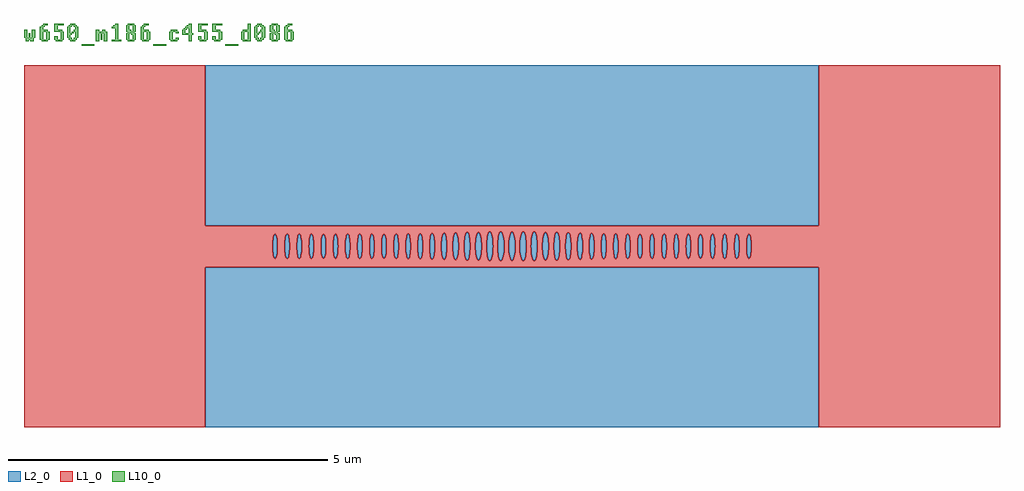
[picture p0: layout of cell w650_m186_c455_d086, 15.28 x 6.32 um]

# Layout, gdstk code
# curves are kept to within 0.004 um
import gdstk
lib = gdstk.Library(unit=1e-6, precision=1e-09)
def R(c, l, rs):  # rectangles x0, y0, x1, y1
    for r in rs: c.add(gdstk.rectangle(r[:2], r[2:], *l))
def A(c, l, x, y, w, h, nx, ny, dx, dy):  # array of equal rectangles
    R(c, l, [(x+i*dx, y+j*dy, x+i*dx+w, y+j*dy+h) for i in range(nx) for j in range(ny)])
def P(c, l, *ps):  # polygons
    for p in ps: c.add(gdstk.Polygon(p, *l))
L1_0 = (1, 0)
L2_0 = (2, 0)
L10_0 = (10, 0)

w650_m186_c455_d086 = lib.new_cell('w650_m186_c455_d086')
P(w650_m186_c455_d086, L1_0, [(-2.796,0.075),(-2.796,0.325),(-4.803,0.325),(-4.803,2.835),(-7.638,2.835),(-7.638,-0.038),(-3.746,-0.038),(-3.74,0.108),(-3.73,0.162),(-3.709,0.195),(-3.694,0.18),(-3.682,0.138),(-3.671,0),(-3.557,0),(-3.546,0.138),(-3.534,0.18),(-3.519,0.195),(-3.512,0.191),(-3.498,0.162),(-3.487,0.108),(-3.482,-0.038),(-3.367,-0.038),(-3.361,0.108),(-3.351,0.162),(-3.33,0.195),(-3.315,0.18),(-3.303,0.138),(-3.292,0),(-3.178,0),(-3.167,0.138),(-3.155,0.18),(-3.14,0.195),(-3.119,0.162),(-3.108,0.108),(-3.103,-0.038),(-2.988,-0.038),(-2.982,0.108),(-2.972,0.162),(-2.951,0.195),(-2.943,0.191),(-2.929,0.162),(-2.913,0.038),(-2.919,-0.108),(-2.929,-0.162),(-2.943,-0.191),(-2.951,-0.195),(-2.972,-0.162),(-2.988,-0.038),(-3.103,-0.038),(-3.119,-0.162),(-3.133,-0.191),(-3.147,-0.191),(-3.161,-0.162),(-3.172,-0.108),(-3.178,0),(-3.292,0),(-3.303,-0.138),(-3.315,-0.18),(-3.33,-0.195),(-3.351,-0.162),(-3.367,-0.038),(-3.482,-0.038),(-3.498,-0.162),(-3.512,-0.191),(-3.526,-0.191),(-3.54,-0.162),(-3.551,-0.108),(-3.557,0),(-3.671,0),(-3.682,-0.138),(-3.694,-0.18),(-3.709,-0.195),(-3.73,-0.162),(-3.746,-0.038),(-7.638,-0.038),(-7.638,-2.835),(-4.803,-2.835),(-4.803,-0.325),(-2.796,-0.325)],
  [(-1.849,0.075),(-1.835,0.162),(-1.821,0.191),(-1.821,0.325),(-2.796,0.325),(-2.796,0.075),(-2.776,0.18),(-2.761,0.195),(-2.754,0.191),(-2.74,0.162),(-2.729,0.108),(-2.724,-0.038),(-2.609,-0.038),(-2.603,0.108),(-2.593,0.162),(-2.572,0.195),(-2.557,0.18),(-2.545,0.138),(-2.534,0),(-2.42,0),(-2.409,0.138),(-2.397,0.18),(-2.382,0.195),(-2.361,0.162),(-2.35,0.108),(-2.345,-0.038),(-2.23,-0.038),(-2.224,0.108),(-2.214,0.162),(-2.193,0.195),(-2.178,0.18),(-2.166,0.138),(-2.155,0),(-2.041,0),(-2.03,0.138),(-2.018,0.18),(-2.003,0.195),(-1.996,0.191),(-1.982,0.162),(-1.971,0.108),(-1.965,0),(-1.976,-0.138),(-1.989,-0.18),(-2.003,-0.195),(-2.018,-0.18),(-2.03,-0.138),(-2.041,0),(-2.155,0),(-2.166,-0.138),(-2.178,-0.18),(-2.193,-0.195),(-2.214,-0.162),(-2.23,-0.038),(-2.345,-0.038),(-2.355,-0.138),(-2.368,-0.18),(-2.382,-0.195),(-2.397,-0.18),(-2.409,-0.138),(-2.42,0),(-2.534,0),(-2.545,-0.138),(-2.557,-0.18),(-2.572,-0.195),(-2.593,-0.162),(-2.609,-0.038),(-2.724,-0.038),(-2.734,-0.138),(-2.747,-0.18),(-2.761,-0.195),(-2.776,-0.18),(-2.782,-0.162),(-2.796,-0.075),(-2.796,-0.325),(-1.821,-0.325),(-1.821,-0.191),(-1.835,-0.162),(-1.849,-0.075)],
  [(-1.806,0.191),(-1.792,0.162),(-1.782,0.108),(-1.776,0),(-1.663,0),(-1.651,0.139),(-1.639,0.181),(-1.624,0.196),(-1.61,0.181),(-1.597,0.139),(-1.586,0),(-1.475,0),(-1.464,0.141),(-1.451,0.184),(-1.436,0.199),(-1.421,0.184),(-1.408,0.141),(-1.399,0.076),(-1.396,-0.019),(-1.29,-0.019),(-1.288,0.057),(-1.276,0.154),(-1.262,0.193),(-1.247,0.204),(-1.232,0.185),(-1.219,0.141),(-1.209,-0.02),(-1.107,-0.02),(-1.098,0.129),(-1.078,0.197),(-1.062,0.209),(-1.046,0.19),(-1.033,0.144),(-1.024,0.078),(-1.021,-0.02),(-1.033,-0.144),(-1.046,-0.19),(-1.062,-0.209),(-1.078,-0.197),(-1.092,-0.158),(-1.107,-0.02),(-1.209,-0.02),(-1.219,-0.141),(-1.232,-0.185),(-1.247,-0.204),(-1.262,-0.193),(-1.276,-0.154),(-1.29,-0.019),(-1.396,-0.019),(-1.408,-0.141),(-1.421,-0.184),(-1.436,-0.199),(-1.451,-0.184),(-1.464,-0.141),(-1.475,0),(-1.586,0),(-1.597,-0.139),(-1.61,-0.181),(-1.624,-0.196),(-1.639,-0.181),(-1.651,-0.139),(-1.663,0),(-1.776,0),(-1.778,-0.075),(-1.792,-0.162),(-1.806,-0.191),(-1.821,-0.191),(-1.821,-0.325),(-0.888,-0.325),(-0.888,-0.212),(-0.904,-0.185),(-0.917,-0.132),(-0.926,-0.02),(-0.917,0.132),(-0.904,0.185),(-0.888,0.212),(-0.888,0.325),(-1.821,0.325),(-1.821,0.191)],
  [(-0.048,0.082),(-0.031,0.182),(-0.023,0.204),(-0.005,0.227),(-0.005,0.325),(-0.888,0.325),(-0.888,0.212),(-0.871,0.208),(-0.849,0.147),(-0.837,0.04),(-0.837,-0.04),(-0.748,-0.04),(-0.748,0.04),(-0.736,0.147),(-0.722,0.195),(-0.706,0.217),(-0.688,0.21),(-0.667,0.147),(-0.655,0.04),(-0.655,-0.041),(-0.572,-0.041),(-0.572,0.041),(-0.56,0.15),(-0.545,0.199),(-0.528,0.221),(-0.51,0.214),(-0.487,0.15),(-0.475,0),(-0.398,0),(-0.385,0.152),(-0.37,0.201),(-0.352,0.224),(-0.343,0.224),(-0.325,0.201),(-0.31,0.152),(-0.297,0),(-0.225,0),(-0.212,0.153),(-0.188,0.218),(-0.169,0.226),(-0.15,0.203),(-0.135,0.153),(-0.122,0),(-0.135,-0.153),(-0.15,-0.203),(-0.169,-0.226),(-0.188,-0.218),(-0.212,-0.153),(-0.225,0),(-0.297,0),(-0.31,-0.152),(-0.325,-0.201),(-0.343,-0.224),(-0.362,-0.216),(-0.385,-0.152),(-0.398,0),(-0.475,0),(-0.487,-0.15),(-0.502,-0.199),(-0.519,-0.221),(-0.537,-0.214),(-0.553,-0.177),(-0.572,-0.041),(-0.655,-0.041),(-0.673,-0.174),(-0.688,-0.21),(-0.706,-0.217),(-0.73,-0.174),(-0.748,-0.04),(-0.837,-0.04),(-0.855,-0.174),(-0.871,-0.208),(-0.888,-0.212),(-0.888,-0.325),(-0.005,-0.325),(-0.005,-0.227),(-0.023,-0.204),(-0.044,-0.12),(-0.052,0)],
  [(0.048,-0.082),(0.038,-0.153),(0.023,-0.204),(0.005,-0.227),(-0.005,-0.227),(-0.005,-0.325),(0.867,-0.325),(0.867,-0.202),(0.846,-0.132),(0.837,-0.02),(0.846,0.132),(0.867,0.202),(0.867,0.325),(-0.005,0.325),(-0.005,0.227),(0.014,0.219),(0.031,0.182),(0.044,0.12),(0.052,0),(0.122,0),(0.135,0.153),(0.15,0.203),(0.169,0.226),(0.188,0.218),(0.212,0.153),(0.225,0),(0.297,0),(0.31,0.152),(0.325,0.201),(0.343,0.224),(0.362,0.216),(0.385,0.152),(0.395,0.081),(0.397,-0.041),(0.475,-0.041),(0.475,0.041),(0.487,0.15),(0.502,0.199),(0.519,0.221),(0.537,0.214),(0.56,0.15),(0.572,0),(0.654,0),(0.661,0.115),(0.673,0.174),(0.688,0.21),(0.706,0.217),(0.73,0.174),(0.748,0.04),(0.748,-0.04),(0.736,-0.147),(0.722,-0.195),(0.706,-0.217),(0.688,-0.21),(0.673,-0.174),(0.661,-0.115),(0.654,0),(0.572,0),(0.56,-0.15),(0.545,-0.199),(0.528,-0.221),(0.51,-0.214),(0.494,-0.177),(0.475,-0.041),(0.397,-0.041),(0.385,-0.152),(0.37,-0.201),(0.352,-0.224),(0.343,-0.224),(0.325,-0.201),(0.31,-0.152),(0.297,0),(0.225,0),(0.212,-0.153),(0.196,-0.203),(0.178,-0.226),(0.159,-0.218),(0.15,-0.203),(0.135,-0.153),(0.122,0),(0.052,0)],
  [(0.884,0.213),(0.9,0.194),(0.914,0.147),(0.926,0.04),(0.926,-0.02),(1.021,-0.02),(1.03,0.129),(1.043,0.181),(1.058,0.207),(1.066,0.209),(1.082,0.19),(1.095,0.144),(1.104,0.078),(1.107,-0.019),(1.208,-0.019),(1.21,0.057),(1.222,0.154),(1.236,0.193),(1.251,0.204),(1.266,0.185),(1.279,0.141),(1.29,0),(1.396,0),(1.408,0.141),(1.421,0.184),(1.436,0.199),(1.451,0.184),(1.464,0.141),(1.475,0),(1.586,0),(1.597,0.139),(1.61,0.181),(1.624,0.196),(1.632,0.192),(1.646,0.163),(1.656,0.109),(1.662,-0.038),(1.646,-0.163),(1.632,-0.192),(1.624,-0.196),(1.61,-0.181),(1.597,-0.139),(1.586,0),(1.475,0),(1.464,-0.141),(1.451,-0.184),(1.436,-0.199),(1.421,-0.184),(1.408,-0.141),(1.396,0),(1.29,0),(1.279,-0.141),(1.266,-0.185),(1.251,-0.204),(1.236,-0.193),(1.222,-0.154),(1.208,-0.019),(1.107,-0.019),(1.095,-0.144),(1.082,-0.19),(1.066,-0.209),(1.05,-0.197),(1.036,-0.158),(1.021,-0.02),(0.926,-0.02),(0.919,-0.116),(0.908,-0.174),(0.892,-0.208),(0.875,-0.212),(0.867,-0.202),(0.867,-0.325),(1.814,-0.325),(1.814,-0.195),(1.806,-0.191),(1.792,-0.162),(1.776,-0.038),(1.782,0.108),(1.792,0.162),(1.806,0.191),(1.814,0.195),(1.814,0.325),(0.867,0.325),(0.867,0.202),(0.875,0.212)],
  [(2.726,0.075),(2.74,0.162),(2.761,0.195),(2.776,0.18),(2.793,0.108),(2.793,0.325),(1.814,0.325),(1.814,0.195),(1.828,0.18),(1.84,0.138),(1.851,0),(1.965,0),(1.976,0.138),(1.989,0.18),(2.003,0.195),(2.018,0.18),(2.035,0.108),(2.04,-0.038),(2.155,-0.038),(2.161,0.108),(2.171,0.162),(2.185,0.191),(2.193,0.195),(2.207,0.18),(2.219,0.138),(2.23,0),(2.344,0),(2.355,0.138),(2.368,0.18),(2.382,0.195),(2.397,0.18),(2.414,0.108),(2.419,-0.038),(2.534,-0.038),(2.54,0.108),(2.55,0.162),(2.564,0.191),(2.572,0.195),(2.593,0.162),(2.609,0.038),(2.603,-0.108),(2.593,-0.162),(2.572,-0.195),(2.564,-0.191),(2.55,-0.162),(2.534,-0.038),(2.419,-0.038),(2.403,-0.162),(2.389,-0.191),(2.375,-0.191),(2.361,-0.162),(2.35,-0.108),(2.344,0),(2.23,0),(2.219,-0.138),(2.207,-0.18),(2.193,-0.195),(2.185,-0.191),(2.171,-0.162),(2.155,-0.038),(2.04,-0.038),(2.03,-0.138),(2.018,-0.18),(2.003,-0.195),(1.989,-0.18),(1.976,-0.138),(1.965,0),(1.851,0),(1.84,-0.138),(1.828,-0.18),(1.814,-0.195),(1.814,-0.325),(2.793,-0.325),(2.793,-0.108),(2.782,-0.162),(2.768,-0.191),(2.754,-0.191),(2.74,-0.162),(2.726,-0.075)],
  [(2.793,-0.108),(2.793,-0.325),(4.803,-0.325),(4.803,-2.835),(7.638,-2.835),(7.638,2.835),(4.803,2.835),(4.803,0.325),(2.793,0.325),(2.798,-0.038),(2.913,-0.038),(2.919,0.108),(2.929,0.162),(2.943,0.191),(2.951,0.195),(2.965,0.18),(2.977,0.138),(2.988,0),(3.102,0),(3.113,0.138),(3.133,0.191),(3.147,0.191),(3.161,0.162),(3.172,0.108),(3.177,-0.038),(3.292,-0.038),(3.298,0.108),(3.308,0.162),(3.322,0.191),(3.33,0.195),(3.344,0.18),(3.356,0.138),(3.367,0),(3.481,0),(3.492,0.138),(3.505,0.18),(3.519,0.195),(3.534,0.18),(3.551,0.108),(3.556,-0.038),(3.671,-0.038),(3.677,0.108),(3.687,0.162),(3.701,0.191),(3.709,0.195),(3.73,0.162),(3.746,0.038),(3.74,-0.108),(3.73,-0.162),(3.709,-0.195),(3.701,-0.191),(3.687,-0.162),(3.671,-0.038),(3.556,-0.038),(3.54,-0.162),(3.526,-0.191),(3.512,-0.191),(3.498,-0.162),(3.487,-0.108),(3.481,0),(3.367,0),(3.356,-0.138),(3.344,-0.18),(3.33,-0.195),(3.322,-0.191),(3.308,-0.162),(3.292,-0.038),(3.177,-0.038),(3.161,-0.162),(3.147,-0.191),(3.133,-0.191),(3.119,-0.162),(3.108,-0.108),(3.102,0),(2.988,0),(2.977,-0.138),(2.965,-0.18),(2.951,-0.195),(2.943,-0.191),(2.929,-0.162),(2.913,-0.038),(2.798,-0.038)])
R(w650_m186_c455_d086, L2_0, [(-4.803,-2.835,4.803,-0.325), (-4.803,0.325,4.803,2.835)])
P(w650_m186_c455_d086, L2_0, [(1.968,-0.075),(1.982,-0.162),(2.003,-0.195),(2.018,-0.18),(2.035,-0.108),(2.041,0),(2.035,0.108),(2.018,0.18),(2.003,0.195),(1.982,0.162),(1.971,0.108),(1.965,0)],
  [(-0.222,-0.082),(-0.212,-0.153),(-0.188,-0.218),(-0.178,-0.226),(-0.159,-0.218),(-0.135,-0.153),(-0.123,-0.042),(-0.125,0.082),(-0.142,0.181),(-0.15,0.203),(-0.169,0.226),(-0.188,0.218),(-0.212,0.153),(-0.224,0.042)],
  [(3.484,-0.075),(3.498,-0.162),(3.519,-0.195),(3.534,-0.18),(3.551,-0.108),(3.557,0),(3.551,0.108),(3.534,0.18),(3.519,0.195),(3.498,0.162),(3.487,0.108),(3.481,0)],
  [(-3.554,-0.075),(-3.54,-0.162),(-3.534,-0.18),(-3.519,-0.195),(-3.498,-0.162),(-3.487,-0.108),(-3.481,0),(-3.487,0.108),(-3.498,0.162),(-3.519,0.195),(-3.534,0.18),(-3.551,0.108),(-3.557,0)],
  [(3.105,-0.075),(3.119,-0.162),(3.14,-0.195),(3.155,-0.18),(3.172,-0.108),(3.178,0),(3.172,0.108),(3.155,0.18),(3.14,0.195),(3.119,0.162),(3.108,0.108),(3.102,0)],
  [(-3.175,-0.075),(-3.161,-0.162),(-3.155,-0.18),(-3.14,-0.195),(-3.119,-0.162),(-3.108,-0.108),(-3.102,0),(-3.108,0.108),(-3.119,0.162),(-3.14,0.195),(-3.155,0.18),(-3.172,0.108),(-3.178,0)],
  [(2.726,-0.075),(2.74,-0.162),(2.761,-0.195),(2.776,-0.18),(2.793,-0.108),(2.799,0),(2.793,0.108),(2.776,0.18),(2.761,0.195),(2.74,0.162),(2.729,0.108),(2.723,0)],
  [(-2.796,-0.075),(-2.782,-0.162),(-2.776,-0.18),(-2.761,-0.195),(-2.74,-0.162),(-2.729,-0.108),(-2.723,0),(-2.729,0.108),(-2.74,0.162),(-2.761,0.195),(-2.776,0.18),(-2.793,0.108),(-2.799,0)],
  [(2.347,-0.075),(2.361,-0.162),(2.382,-0.195),(2.397,-0.18),(2.414,-0.108),(2.42,0),(2.414,0.108),(2.397,0.18),(2.382,0.195),(2.361,0.162),(2.35,0.108),(2.344,0)],
  [(-2.417,-0.075),(-2.403,-0.162),(-2.397,-0.18),(-2.382,-0.195),(-2.361,-0.162),(-2.35,-0.108),(-2.344,0),(-2.35,0.108),(-2.361,0.162),(-2.382,0.195),(-2.397,0.18),(-2.414,0.108),(-2.42,0)],
  [(-2.038,-0.075),(-2.024,-0.162),(-2.018,-0.18),(-2.003,-0.195),(-1.982,-0.162),(-1.971,-0.108),(-1.965,0),(-1.971,0.108),(-1.982,0.162),(-2.003,0.195),(-2.018,0.18),(-2.035,0.108),(-2.041,0)],
  [(-1.66,-0.075),(-1.646,-0.163),(-1.632,-0.192),(-1.624,-0.196),(-1.61,-0.181),(-1.592,-0.109),(-1.586,0),(-1.592,0.109),(-1.603,0.163),(-1.624,0.196),(-1.632,0.192),(-1.646,0.163),(-1.656,0.109),(-1.663,0)],
  [(1.589,-0.075),(1.603,-0.163),(1.624,-0.196),(1.632,-0.192),(1.646,-0.163),(1.656,-0.109),(1.663,0),(1.66,0.075),(1.646,0.163),(1.632,0.192),(1.624,0.196),(1.603,0.163),(1.592,0.109),(1.586,0)],
  [(1.472,0.076),(1.464,0.141),(1.444,0.196),(1.428,0.196),(1.421,0.184),(1.403,0.111),(1.396,0),(1.399,-0.076),(1.414,-0.166),(1.428,-0.196),(1.436,-0.199),(1.444,-0.196),(1.458,-0.166),(1.469,-0.111),(1.475,0)],
  [(-0.301,0.081),(-0.317,0.18),(-0.343,0.224),(-0.362,0.216),(-0.37,0.201),(-0.391,0.118),(-0.398,0),(-0.391,-0.118),(-0.378,-0.18),(-0.362,-0.216),(-0.352,-0.224),(-0.343,-0.224),(-0.325,-0.201),(-0.31,-0.152),(-0.298,-0.041)],
  [(0.658,-0.079),(0.673,-0.174),(0.688,-0.21),(0.697,-0.217),(0.714,-0.21),(0.736,-0.147),(0.748,-0.04),(0.745,0.079),(0.73,0.174),(0.706,0.217),(0.688,0.21),(0.68,0.195),(0.661,0.115),(0.654,0)],
  [(-1.472,-0.076),(-1.464,-0.141),(-1.444,-0.196),(-1.428,-0.196),(-1.421,-0.184),(-1.403,-0.111),(-1.396,-0.019),(-1.399,0.076),(-1.414,0.166),(-1.428,0.196),(-1.436,0.199),(-1.444,0.196),(-1.458,0.166),(-1.469,0.111),(-1.475,0)],
  [(0.301,-0.081),(0.317,-0.18),(0.343,-0.224),(0.362,-0.216),(0.37,-0.201),(0.391,-0.118),(0.398,0),(0.391,0.118),(0.378,0.18),(0.362,0.216),(0.352,0.224),(0.343,0.224),(0.325,0.201),(0.31,0.152),(0.298,0.041)],
  [(0.222,0.082),(0.212,0.153),(0.188,0.218),(0.178,0.226),(0.159,0.218),(0.135,0.153),(0.123,0.042),(0.125,-0.082),(0.142,-0.181),(0.15,-0.203),(0.169,-0.226),(0.188,-0.218),(0.212,-0.153),(0.224,-0.042)],
  [(0.048,0.082),(0.031,0.182),(0.023,0.204),(0.005,0.227),(-0.005,0.227),(-0.023,0.204),(-0.044,0.12),(-0.052,0),(-0.044,-0.12),(-0.023,-0.204),(-0.005,-0.227),(0.005,-0.227),(0.023,-0.204),(0.044,-0.12),(0.052,0)],
  [(1.287,0.076),(1.273,0.166),(1.251,0.204),(1.243,0.202),(1.228,0.176),(1.217,0.126),(1.208,0.019),(1.213,-0.093),(1.228,-0.176),(1.243,-0.202),(1.251,-0.204),(1.273,-0.166),(1.283,-0.11),(1.29,0)],
  [(-1.285,-0.093),(-1.269,-0.176),(-1.255,-0.202),(-1.247,-0.204),(-1.225,-0.166),(-1.214,-0.11),(-1.208,0),(-1.214,0.11),(-1.225,0.166),(-1.247,0.204),(-1.262,0.193),(-1.281,0.126),(-1.29,0.019)],
  [(-0.921,-0.098),(-0.911,-0.162),(-0.888,-0.212),(-0.871,-0.208),(-0.863,-0.194),(-0.844,-0.116),(-0.837,-0.04),(-0.84,0.079),(-0.855,0.174),(-0.871,0.208),(-0.879,0.213),(-0.888,0.212),(-0.904,0.185),(-0.917,0.132),(-0.926,0.02)],
  [(0.842,-0.098),(0.852,-0.162),(0.875,-0.212),(0.892,-0.208),(0.9,-0.194),(0.919,-0.116),(0.926,-0.04),(0.923,0.079),(0.908,0.174),(0.892,0.208),(0.884,0.213),(0.875,0.212),(0.859,0.185),(0.846,0.132),(0.837,0.02)],
  [(1.106,0.04),(1.095,0.144),(1.074,0.203),(1.066,0.209),(1.05,0.197),(1.03,0.129),(1.021,0.02),(1.026,-0.096),(1.043,-0.181),(1.058,-0.207),(1.066,-0.209),(1.082,-0.19),(1.1,-0.113)],
  [(-1.022,0.04),(-1.033,0.144),(-1.054,0.203),(-1.062,0.209),(-1.078,0.197),(-1.098,0.129),(-1.107,0.02),(-1.102,-0.096),(-1.085,-0.181),(-1.07,-0.207),(-1.062,-0.209),(-1.046,-0.19),(-1.028,-0.113)],
  [(3.677,-0.108),(3.687,-0.162),(3.701,-0.191),(3.709,-0.195),(3.73,-0.162),(3.744,-0.075),(3.746,0.038),(3.74,0.108),(3.73,0.162),(3.709,0.195),(3.701,0.191),(3.687,0.162),(3.673,0.075),(3.671,-0.038)],
  [(1.849,0.075),(1.835,0.162),(1.814,0.195),(1.806,0.191),(1.792,0.162),(1.782,0.108),(1.776,0.038),(1.778,-0.075),(1.792,-0.162),(1.806,-0.191),(1.814,-0.195),(1.835,-0.162),(1.845,-0.108),(1.851,-0.038)],
  [(-1.778,0.075),(-1.792,0.162),(-1.806,0.191),(-1.814,0.195),(-1.835,0.162),(-1.845,0.108),(-1.851,0.038),(-1.849,-0.075),(-1.835,-0.162),(-1.814,-0.195),(-1.806,-0.191),(-1.792,-0.162),(-1.782,-0.108),(-1.776,-0.038)],
  [(-2.157,0.075),(-2.171,0.162),(-2.185,0.191),(-2.193,0.195),(-2.214,0.162),(-2.224,0.108),(-2.23,0.038),(-2.228,-0.075),(-2.214,-0.162),(-2.193,-0.195),(-2.185,-0.191),(-2.171,-0.162),(-2.161,-0.108),(-2.155,-0.038)],
  [(2.228,0.075),(2.214,0.162),(2.193,0.195),(2.185,0.191),(2.171,0.162),(2.161,0.108),(2.155,0.038),(2.157,-0.075),(2.171,-0.162),(2.185,-0.191),(2.193,-0.195),(2.214,-0.162),(2.224,-0.108),(2.23,-0.038)],
  [(-2.536,0.075),(-2.55,0.162),(-2.564,0.191),(-2.572,0.195),(-2.593,0.162),(-2.603,0.108),(-2.609,0.038),(-2.607,-0.075),(-2.593,-0.162),(-2.572,-0.195),(-2.564,-0.191),(-2.55,-0.162),(-2.54,-0.108),(-2.534,-0.038)],
  [(2.607,0.075),(2.593,0.162),(2.572,0.195),(2.564,0.191),(2.55,0.162),(2.54,0.108),(2.534,0.038),(2.536,-0.075),(2.55,-0.162),(2.564,-0.191),(2.572,-0.195),(2.593,-0.162),(2.603,-0.108),(2.609,-0.038)],
  [(-2.915,0.075),(-2.929,0.162),(-2.943,0.191),(-2.951,0.195),(-2.972,0.162),(-2.982,0.108),(-2.988,0.038),(-2.986,-0.075),(-2.972,-0.162),(-2.951,-0.195),(-2.943,-0.191),(-2.929,-0.162),(-2.919,-0.108),(-2.913,-0.038)],
  [(2.986,0.075),(2.972,0.162),(2.951,0.195),(2.943,0.191),(2.929,0.162),(2.919,0.108),(2.913,0.038),(2.915,-0.075),(2.929,-0.162),(2.943,-0.191),(2.951,-0.195),(2.972,-0.162),(2.982,-0.108),(2.988,-0.038)],
  [(-3.294,0.075),(-3.308,0.162),(-3.322,0.191),(-3.33,0.195),(-3.351,0.162),(-3.361,0.108),(-3.367,0.038),(-3.365,-0.075),(-3.351,-0.162),(-3.33,-0.195),(-3.322,-0.191),(-3.308,-0.162),(-3.298,-0.108),(-3.292,-0.038)],
  [(3.365,0.075),(3.351,0.162),(3.33,0.195),(3.322,0.191),(3.308,0.162),(3.298,0.108),(3.292,0.038),(3.294,-0.075),(3.308,-0.162),(3.322,-0.191),(3.33,-0.195),(3.351,-0.162),(3.361,-0.108),(3.367,-0.038)],
  [(-3.673,0.075),(-3.687,0.162),(-3.701,0.191),(-3.709,0.195),(-3.73,0.162),(-3.74,0.108),(-3.746,0.038),(-3.744,-0.075),(-3.73,-0.162),(-3.709,-0.195),(-3.701,-0.191),(-3.687,-0.162),(-3.677,-0.108),(-3.671,-0.038)],
  [(-0.741,-0.115),(-0.73,-0.174),(-0.706,-0.217),(-0.688,-0.21),(-0.68,-0.195),(-0.661,-0.115),(-0.654,0),(-0.661,0.115),(-0.68,0.195),(-0.697,0.217),(-0.714,0.21),(-0.722,0.195),(-0.741,0.115),(-0.748,0.04)],
  [(-0.478,0.08),(-0.487,0.15),(-0.51,0.214),(-0.519,0.221),(-0.537,0.214),(-0.56,0.15),(-0.572,0.041),(-0.569,-0.08),(-0.553,-0.177),(-0.537,-0.214),(-0.528,-0.221),(-0.51,-0.214),(-0.487,-0.15),(-0.475,-0.041)],
  [(0.569,0.08),(0.56,0.15),(0.537,0.214),(0.528,0.221),(0.51,0.214),(0.487,0.15),(0.475,0.041),(0.478,-0.08),(0.494,-0.177),(0.51,-0.214),(0.519,-0.221),(0.537,-0.214),(0.56,-0.15),(0.572,-0.041)])
A(w650_m186_c455_d086, L10_0, -6.738, 3.135, 0.2, 0.025, 3, 1, 1.125, 0)
R(w650_m186_c455_d086, L10_0, [(-6.888,3.335,-6.863,3.36), (-3.963,3.335,-3.938,3.36)])
P(w650_m186_c455_d086, L10_0, [(-7.613,3.26),(-7.613,3.21),(-7.563,3.21),(-7.563,3.235),(-7.538,3.235),(-7.538,3.21),(-7.488,3.21),(-7.488,3.26),(-7.463,3.26),(-7.463,3.385),(-7.513,3.385),(-7.513,3.26),(-7.538,3.26),(-7.538,3.335),(-7.563,3.335),(-7.563,3.26),(-7.588,3.26),(-7.588,3.385),(-7.638,3.385),(-7.638,3.26)],
  [(-7.238,3.36),(-7.263,3.36),(-7.263,3.385),(-7.338,3.385),(-7.338,3.435),(-7.313,3.435),(-7.313,3.46),(-7.263,3.46),(-7.263,3.485),(-7.338,3.485),(-7.338,3.46),(-7.363,3.46),(-7.363,3.435),(-7.388,3.435),(-7.388,3.235),(-7.338,3.235),(-7.338,3.36),(-7.288,3.36),(-7.288,3.235),(-7.338,3.235),(-7.388,3.235),(-7.363,3.235),(-7.363,3.21),(-7.263,3.21),(-7.263,3.235),(-7.238,3.235)],
  [(-7.138,3.235),(-7.138,3.21),(-7.038,3.21),(-7.038,3.235),(-7.013,3.235),(-7.013,3.36),(-7.038,3.36),(-7.038,3.385),(-7.113,3.385),(-7.113,3.46),(-7.013,3.46),(-7.013,3.485),(-7.163,3.485),(-7.163,3.36),(-7.063,3.36),(-7.063,3.235),(-7.113,3.235),(-7.113,3.285),(-7.163,3.285),(-7.163,3.235)],
  [(-6.813,3.26),(-6.788,3.26),(-6.788,3.435),(-6.813,3.435),(-6.813,3.46),(-6.838,3.46),(-6.838,3.485),(-6.913,3.485),(-6.913,3.46),(-6.938,3.46),(-6.938,3.435),(-6.963,3.435),(-6.963,3.26),(-6.913,3.26),(-6.913,3.31),(-6.888,3.31),(-6.888,3.335),(-6.913,3.335),(-6.913,3.435),(-6.888,3.435),(-6.888,3.46),(-6.863,3.46),(-6.863,3.435),(-6.838,3.435),(-6.838,3.385),(-6.863,3.385),(-6.863,3.36),(-6.838,3.36),(-6.838,3.26),(-6.863,3.26),(-6.863,3.235),(-6.888,3.235),(-6.888,3.26),(-6.913,3.26),(-6.963,3.26),(-6.938,3.26),(-6.938,3.235),(-6.913,3.235),(-6.913,3.21),(-6.838,3.21),(-6.838,3.235),(-6.813,3.235)],
  [(-6.463,3.21),(-6.463,3.335),(-6.438,3.335),(-6.438,3.235),(-6.413,3.235),(-6.413,3.335),(-6.388,3.335),(-6.388,3.21),(-6.338,3.21),(-6.338,3.36),(-6.363,3.36),(-6.363,3.385),(-6.413,3.385),(-6.413,3.36),(-6.463,3.36),(-6.463,3.385),(-6.513,3.385),(-6.513,3.21)],
  [(-6.238,3.435),(-6.263,3.435),(-6.263,3.41),(-6.213,3.41),(-6.213,3.235),(-6.263,3.235),(-6.263,3.21),(-6.113,3.21),(-6.113,3.235),(-6.163,3.235),(-6.163,3.485),(-6.213,3.485),(-6.213,3.46),(-6.238,3.46)],
  [(-5.888,3.335),(-5.913,3.335),(-5.913,3.36),(-5.888,3.36),(-5.888,3.46),(-5.913,3.46),(-5.913,3.485),(-6.013,3.485),(-6.013,3.46),(-6.038,3.46),(-6.038,3.385),(-5.988,3.385),(-5.988,3.46),(-5.938,3.46),(-5.938,3.36),(-5.963,3.36),(-5.963,3.385),(-5.988,3.385),(-6.038,3.385),(-6.038,3.36),(-6.013,3.36),(-6.013,3.335),(-6.038,3.335),(-6.038,3.235),(-5.988,3.235),(-5.988,3.335),(-5.963,3.335),(-5.963,3.31),(-5.938,3.31),(-5.938,3.235),(-5.988,3.235),(-6.038,3.235),(-6.013,3.235),(-6.013,3.21),(-5.913,3.21),(-5.913,3.235),(-5.888,3.235)],
  [(-5.663,3.36),(-5.688,3.36),(-5.688,3.385),(-5.763,3.385),(-5.763,3.435),(-5.738,3.435),(-5.738,3.46),(-5.688,3.46),(-5.688,3.485),(-5.763,3.485),(-5.763,3.46),(-5.788,3.46),(-5.788,3.435),(-5.813,3.435),(-5.813,3.235),(-5.763,3.235),(-5.763,3.36),(-5.713,3.36),(-5.713,3.235),(-5.763,3.235),(-5.813,3.235),(-5.788,3.235),(-5.788,3.21),(-5.688,3.21),(-5.688,3.235),(-5.663,3.235)],
  [(-5.363,3.235),(-5.338,3.235),(-5.338,3.21),(-5.238,3.21),(-5.238,3.235),(-5.213,3.235),(-5.213,3.26),(-5.263,3.26),(-5.263,3.235),(-5.313,3.235),(-5.313,3.36),(-5.263,3.36),(-5.263,3.335),(-5.213,3.335),(-5.213,3.36),(-5.238,3.36),(-5.238,3.385),(-5.338,3.385),(-5.338,3.36),(-5.363,3.36)],
  [(-5.013,3.21),(-5.013,3.31),(-4.988,3.31),(-4.988,3.335),(-5.013,3.335),(-5.013,3.485),(-5.063,3.485),(-5.063,3.46),(-5.088,3.46),(-5.088,3.435),(-5.113,3.435),(-5.113,3.41),(-5.138,3.41),(-5.138,3.385),(-5.163,3.385),(-5.163,3.335),(-5.113,3.335),(-5.113,3.385),(-5.088,3.385),(-5.088,3.41),(-5.063,3.41),(-5.063,3.335),(-5.113,3.335),(-5.163,3.335),(-5.163,3.31),(-5.063,3.31),(-5.063,3.21)],
  [(-4.888,3.235),(-4.888,3.21),(-4.788,3.21),(-4.788,3.235),(-4.763,3.235),(-4.763,3.36),(-4.788,3.36),(-4.788,3.385),(-4.863,3.385),(-4.863,3.46),(-4.763,3.46),(-4.763,3.485),(-4.913,3.485),(-4.913,3.36),(-4.813,3.36),(-4.813,3.235),(-4.863,3.235),(-4.863,3.285),(-4.913,3.285),(-4.913,3.235)],
  [(-4.663,3.235),(-4.663,3.21),(-4.563,3.21),(-4.563,3.235),(-4.538,3.235),(-4.538,3.36),(-4.563,3.36),(-4.563,3.385),(-4.638,3.385),(-4.638,3.46),(-4.538,3.46),(-4.538,3.485),(-4.688,3.485),(-4.688,3.36),(-4.588,3.36),(-4.588,3.235),(-4.638,3.235),(-4.638,3.285),(-4.688,3.285),(-4.688,3.235)],
  [(-4.138,3.485),(-4.138,3.385),(-4.213,3.385),(-4.213,3.36),(-4.238,3.36),(-4.238,3.235),(-4.188,3.235),(-4.188,3.36),(-4.138,3.36),(-4.138,3.235),(-4.188,3.235),(-4.238,3.235),(-4.213,3.235),(-4.213,3.21),(-4.088,3.21),(-4.088,3.485)],
  [(-3.888,3.26),(-3.863,3.26),(-3.863,3.435),(-3.888,3.435),(-3.888,3.46),(-3.913,3.46),(-3.913,3.485),(-3.988,3.485),(-3.988,3.46),(-4.013,3.46),(-4.013,3.435),(-4.038,3.435),(-4.038,3.26),(-3.988,3.26),(-3.988,3.31),(-3.963,3.31),(-3.963,3.335),(-3.988,3.335),(-3.988,3.435),(-3.963,3.435),(-3.963,3.46),(-3.938,3.46),(-3.938,3.435),(-3.913,3.435),(-3.913,3.385),(-3.938,3.385),(-3.938,3.36),(-3.913,3.36),(-3.913,3.26),(-3.938,3.26),(-3.938,3.235),(-3.963,3.235),(-3.963,3.26),(-3.988,3.26),(-4.038,3.26),(-4.013,3.26),(-4.013,3.235),(-3.988,3.235),(-3.988,3.21),(-3.913,3.21),(-3.913,3.235),(-3.888,3.235)],
  [(-3.638,3.335),(-3.663,3.335),(-3.663,3.36),(-3.638,3.36),(-3.638,3.46),(-3.663,3.46),(-3.663,3.485),(-3.763,3.485),(-3.763,3.46),(-3.788,3.46),(-3.788,3.385),(-3.738,3.385),(-3.738,3.46),(-3.688,3.46),(-3.688,3.36),(-3.713,3.36),(-3.713,3.385),(-3.738,3.385),(-3.788,3.385),(-3.788,3.36),(-3.763,3.36),(-3.763,3.335),(-3.788,3.335),(-3.788,3.235),(-3.738,3.235),(-3.738,3.335),(-3.713,3.335),(-3.713,3.31),(-3.688,3.31),(-3.688,3.235),(-3.738,3.235),(-3.788,3.235),(-3.763,3.235),(-3.763,3.21),(-3.663,3.21),(-3.663,3.235),(-3.638,3.235)],
  [(-3.413,3.36),(-3.438,3.36),(-3.438,3.385),(-3.513,3.385),(-3.513,3.435),(-3.488,3.435),(-3.488,3.46),(-3.438,3.46),(-3.438,3.485),(-3.513,3.485),(-3.513,3.46),(-3.538,3.46),(-3.538,3.435),(-3.563,3.435),(-3.563,3.235),(-3.513,3.235),(-3.513,3.36),(-3.463,3.36),(-3.463,3.235),(-3.513,3.235),(-3.563,3.235),(-3.538,3.235),(-3.538,3.21),(-3.438,3.21),(-3.438,3.235),(-3.413,3.235)])

lib.write_gds('w650_m186_c455_d086.gds')
